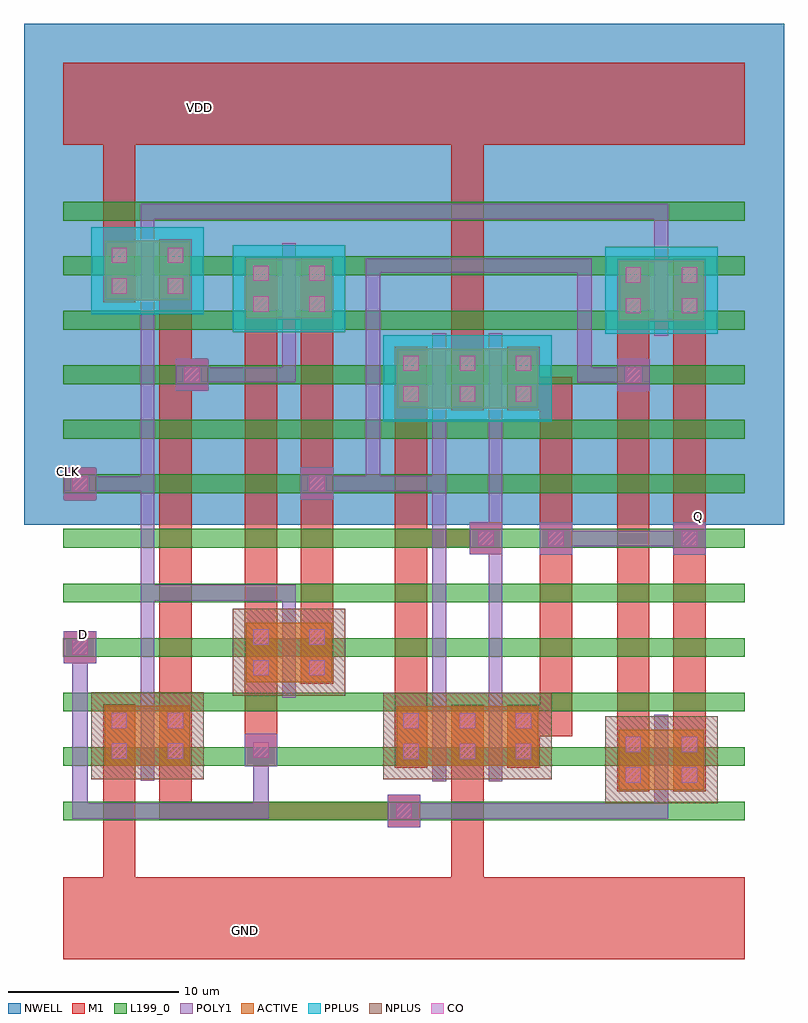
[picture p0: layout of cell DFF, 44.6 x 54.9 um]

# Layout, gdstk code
from math import pi, radians
import gdstk
lib = gdstk.Library(unit=1e-6, precision=1e-08)
def R(c, l, rs):  # rectangles x0, y0, x1, y1
    for r in rs: c.add(gdstk.rectangle(r[:2], r[2:], *l))
def A(c, l, x, y, w, h, nx, ny, dx, dy):  # array of equal rectangles
    R(c, l, [(x+i*dx, y+j*dy, x+i*dx+w, y+j*dy+h) for i in range(nx) for j in range(ny)])
ACTIVE = (10, 0)
NWELL = (20, 0)
NPLUS = (25, 0)
PPLUS = (26, 0)
POLY1 = (30, 0)
CO = (35, 0)
M1 = (40, 0)
L199_0 = (199, 0)

pmos = lib.new_cell('pMOS')
R(pmos, ACTIVE, [(-2.5,-1.75,-0.8,1.75), (-1.4,-1.75,1.4,1.75), (0.8,-1.75,2.5,1.75)])
R(pmos, NWELL, [(-4.9,-4.15,4.9,4.15)])
R(pmos, PPLUS, [(-3.3,-2.55,3.3,2.55)])
R(pmos, POLY1, [(-0.4,-2.65,0.4,2.65)])
R(pmos, CO, [(-2.1,-1.35,-1.2,-0.45), (1.2,-1.35,2.1,-0.45), (-2.1,0.45,-1.2,1.35), (1.2,0.45,2.1,1.35)])
R(pmos, M1, [(-2.6,-1.85,-0.7,1.85), (0.7,-1.85,2.6,1.85)])

nmos = lib.new_cell('nMOS')
R(nmos, ACTIVE, [(-2.5,-1.75,-0.8,1.75), (-1.4,-1.75,1.4,1.75), (0.8,-1.75,2.5,1.75)])
R(nmos, NPLUS, [(-3.3,-2.55,3.3,2.55)])
R(nmos, POLY1, [(-0.4,-2.65,0.4,2.65)])
R(nmos, CO, [(-2.1,-1.35,-1.2,-0.45), (1.2,-1.35,2.1,-0.45), (-2.1,0.45,-1.2,1.35), (1.2,0.45,2.1,1.35)])
R(nmos, M1, [(-2.6,-1.85,-0.7,1.85), (0.7,-1.85,2.6,1.85)])

contactpoly1 = lib.new_cell('ContactPoly1')
R(contactpoly1, POLY1, [(-0.95,-0.95,0.95,0.95)])
R(contactpoly1, CO, [(-0.45,-0.45,0.45,0.45)])
R(contactpoly1, M1, [(-0.95,-0.95,0.95,0.95)])

rails = lib.new_cell('RAILS')
R(rails, NWELL, [(-22.3,-0.8,22.3,28.6)])
R(rails, M1, [(-20,-26.3,20,-21.5), (-20,21.5,20,26.3)])
A(rails, L199_0, -20, -18.15, 40, 1.1, 1, 12, 0, 3.2)

dff = lib.new_cell('DFF')
R(dff, POLY1, [(-54.42,-11.62,-42.91,-10.72), (-54.42,-11.62,-53.52,-1.11), (-43.81,-11.62,-42.91,-7.13), (-34.95,-11.61,-19.46,-10.72), (-50.42,-7.25,-49.62,19.26), (-33.29,-5.02,-32.49,12.46), (-29.99,-5.02,-29.19,12.45), (-42.11,-2.52,-41.31,2.11), (-50.42,1.16,-41.31,2.11), (-26.49,4.38,-17.76,5.28), (-54.42,7.58,-49.62,8.48), (-40.51,7.59,-32.65,8.49), (-37.2,7.59,-36.34,21.27), (-24.8,13.97,-21.05,14.87), (-24.8,13.97,-23.94,21.27), (-47.86,13.98,-41.31,14.88), (-42.11,13.98,-41.31,17.74), (-37.2,20.42,-23.94,21.27), (-20.26,21.13,-19.46,24.48), (-50.42,22.29,-49.62,24.48), (-50.42,23.57,-19.46,24.48)])
R(dff, M1, [(-32.19,-15.58,-30.29,-8.36), (-52.62,-15.26,-50.72,-8.08), (-49.32,-11.72,-47.42,-8.1), (-49.32,-11.72,-34.01,-10.62), (-44.31,-8.18,-42.41,20.62), (-49.32,-8.1,-47.42,20.7), (-22.46,-8.09,-20.56,19.43), (-19.16,-7.98,-17.26,19.57), (-28.89,-6.77,-25.09,-4.92), (-26.99,-6.77,-25.09,14.32), (-35.49,-6.57,-33.59,13.88), (-41.01,-1.72,-39.1,19.52), (-35.49,4.28,-29.19,5.38), (-28.89,12.36,-25.09,14.32), (-32.19,14.4,-30.29,28.14), (-52.62,20.6,-50.72,28.11)])
dff.add(gdstk.Reference(pmos, (-50.02,20.54)))
dff.add(gdstk.Reference(nmos, (-50.02,-6.75)))
dff.add(gdstk.Reference(contactpoly1, (-53.97,8.03), rotation=pi/2))
dff.add(gdstk.Reference(pmos, (-41.71,19.49)))
dff.add(gdstk.Reference(nmos, (-41.71,-1.86)))
dff.add(gdstk.Reference(contactpoly1, (-47.41,14.43), rotation=pi/2))
dff.add(gdstk.Reference(pmos, (-32.89,14.21)))
dff.add(gdstk.Reference(pmos, (-29.59,14.21)))
dff.add(gdstk.Reference(nmos, (-32.89,-6.77)))
dff.add(gdstk.Reference(nmos, (-29.59,-6.77)))
dff.add(gdstk.Reference(contactpoly1, (-40.06,8.04), rotation=pi/2))
dff.add(gdstk.Reference(contactpoly1, (-30.14,4.84), rotation=pi/2))
dff.add(gdstk.Reference(pmos, (-19.86,19.38)))
dff.add(gdstk.Reference(nmos, (-19.86,-8.16)))
dff.add(gdstk.Reference(contactpoly1, (-34.96,-11.16), rotation=pi/2))
dff.add(gdstk.Reference(contactpoly1, (-21.5,14.42), rotation=pi/2))
dff.add(gdstk.Reference(contactpoly1, (-18.21,4.83), rotation=pi/2))
dff.add(gdstk.Reference(contactpoly1, (-26.04,4.83), rotation=pi/2))
dff.add(gdstk.Reference(rails, (-34.96,6.43)))
dff.add(gdstk.Reference(contactpoly1, (-53.97,-1.56), rotation=pi/2))
dff.add(gdstk.Reference(contactpoly1, (-43.36,-7.58), rotation=pi/2))
dff.add(gdstk.Label('CLK', (-54.63,8.77), layer=40, texttype=0))
dff.add(gdstk.Label('VDD', (-46.97,30.12), layer=40, texttype=0))
dff.add(gdstk.Label('GND', (-44.28,-18.19), layer=40, texttype=0))
dff.add(gdstk.Label('D', (-53.75,-0.8), layer=40, texttype=0))
dff.add(gdstk.Label('Q', (-17.66,6.11), layer=40, texttype=0))

lib.write_gds('DFF.gds')
